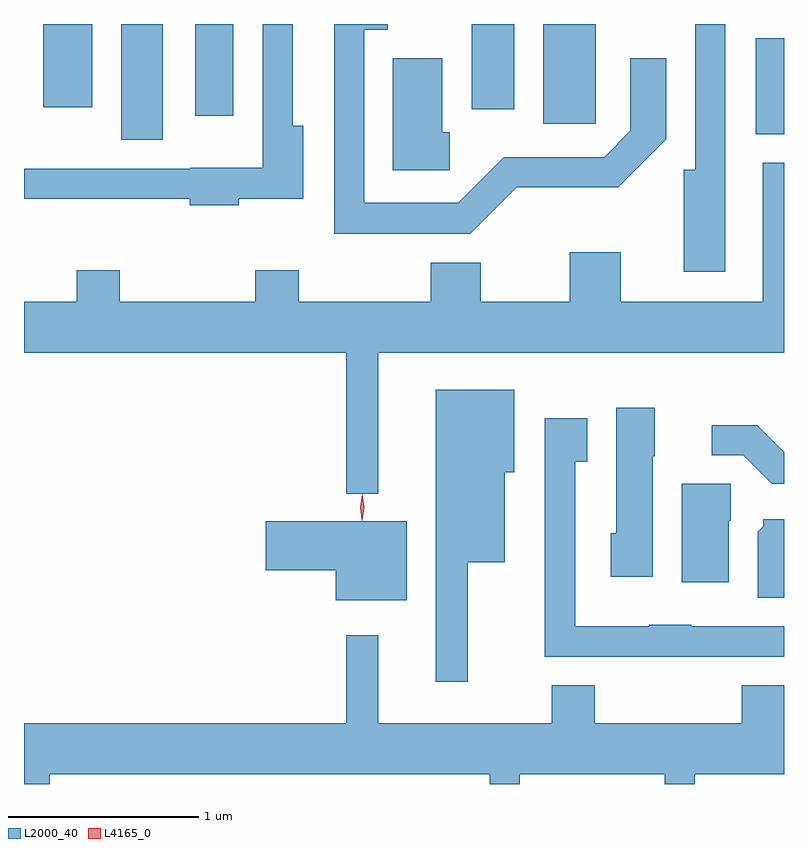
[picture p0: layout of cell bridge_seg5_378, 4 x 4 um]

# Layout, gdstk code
import gdstk
lib = gdstk.Library(unit=1e-6, precision=1e-09)
def R(c, l, rs):  # rectangles x0, y0, x1, y1
    for r in rs: c.add(gdstk.rectangle(r[:2], r[2:], *l))
def P(c, l, *ps):  # polygons
    for p in ps: c.add(gdstk.Polygon(p, *l))
L2000_40 = (2000, 40)
L4165_0 = (4165, 0)

bridge_seg5_378 = lib.new_cell('bridge_seg5_378')
R(bridge_seg5_378, L2000_40, [(436.536,1480.116,436.754,1480.724), (439.876,1480.146,440.024,1480.649), (438.756,1480.201,439.034,1480.725), (436.926,1480.241,437.124,1480.725), (438.381,1480.276,438.604,1480.725), (436.126,1480.286,436.384,1480.725)])
P(bridge_seg5_378, L2000_40, [(438.617,1479.866),(439.152,1479.866),(439.404,1480.119),(439.404,1480.544),(439.216,1480.544),(439.216,1480.162),(439.079,1480.024),(438.549,1480.024),(438.309,1479.784),(437.814,1479.784),(437.814,1480.696),(437.939,1480.696),(437.939,1480.725),(437.656,1480.725),(437.656,1479.621),(438.372,1479.621)],
  [(439.714,1480.725),(439.556,1480.725),(439.556,1479.959),(439.496,1479.959),(439.496,1479.421),(439.714,1479.421)],
  [(437.154,1479.806),(437.494,1479.806),(437.494,1480.189),(437.439,1480.189),(437.439,1480.725),(437.281,1480.725),(437.281,1479.969),(436.9,1479.969),(436.9,1479.964),(436.024,1479.964),(436.024,1479.806),(436.896,1479.806),(436.896,1479.771),(437.154,1479.771)],
  [(438.264,1480.154),(438.224,1480.154),(438.224,1480.544),(437.966,1480.544),(437.966,1479.956),(438.264,1479.956)],
  [(437.889,1478.996),(440.024,1478.996),(440.024,1479.994),(439.911,1479.994),(439.911,1479.264),(439.164,1479.264),(439.164,1479.524),(438.896,1479.524),(438.896,1479.264),(438.429,1479.264),(438.429,1479.469),(438.166,1479.469),(438.166,1479.264),(437.469,1479.264),(437.469,1479.429),(437.241,1479.429),(437.241,1479.264),(436.529,1479.264),(436.529,1479.429),(436.301,1479.429),(436.301,1479.264),(436.024,1479.264),(436.024,1478.996),(437.721,1478.996),(437.721,1478.253),(437.889,1478.253)],
  [(438.359,1477.891),(438.554,1477.891),(438.554,1478.366),(438.604,1478.366),(438.604,1478.799),(438.191,1478.799),(438.191,1477.263),(438.359,1477.263)],
  [(439.334,1478.45),(439.344,1478.45),(439.344,1478.704),(439.141,1478.704),(439.141,1478.044),(439.111,1478.044),(439.111,1477.816),(439.334,1477.816)],
  [(440.024,1477.554),(439.535,1477.554),(439.535,1477.564),(439.315,1477.564),(439.315,1477.554),(438.924,1477.554),(438.924,1478.421),(438.989,1478.421),(438.989,1478.649),(438.766,1478.649),(438.766,1477.396),(440.024,1477.396)],
  [(440.024,1478.472),(439.882,1478.614),(439.643,1478.614),(439.643,1478.456),(439.809,1478.456),(439.959,1478.306),(440.024,1478.306)],
  [(439.734,1478.11),(439.744,1478.11),(439.744,1478.304),(439.486,1478.304),(439.486,1477.786),(439.734,1477.786)],
  [(440.024,1478.119),(439.916,1478.119),(439.916,1478.082),(439.886,1478.052),(439.886,1477.706),(440.024,1477.706)],
  [(438.039,1478.109),(437.296,1478.109),(437.296,1477.851),(437.666,1477.851),(437.666,1477.691),(438.039,1477.691)],
  [(436.159,1476.776),(438.476,1476.776),(438.476,1476.725),(438.634,1476.725),(438.634,1476.776),(439.396,1476.776),(439.396,1476.725),(439.554,1476.725),(439.554,1476.776),(440.024,1476.776),(440.024,1477.244),(439.801,1477.244),(439.801,1477.044),(439.029,1477.044),(439.029,1477.244),(438.801,1477.244),(438.801,1477.044),(437.889,1477.044),(437.889,1477.508),(437.721,1477.508),(437.721,1477.044),(436.024,1477.044),(436.024,1476.725),(436.159,1476.725)])
P(bridge_seg5_378, L4165_0, [(437.802,1478.114),(437.794,1478.182),(437.804,1478.25),(437.805,1478.25),(437.805,1478.25),(437.814,1478.182),(437.803,1478.114),(437.803,1478.114)],
  [(437.804,1478.12),(437.795,1478.183),(437.804,1478.246),(437.805,1478.247),(437.805,1478.246),(437.815,1478.183),(437.805,1478.12),(437.805,1478.12)])

lib.write_gds('bridge_seg5_378.gds')
